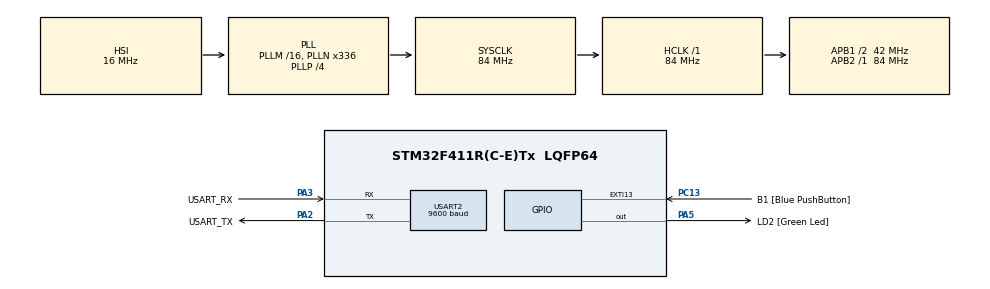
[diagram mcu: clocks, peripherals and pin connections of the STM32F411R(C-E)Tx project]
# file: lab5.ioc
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Mcu.Family=STM32F4
Mcu.Name=STM32F411R(C-E)Tx
Mcu.Package=LQFP64
NVIC.PriorityGroup=NVIC_PRIORITYGROUP_0
NVIC.USART2_IRQn=true\:0\:0\:false\:false\:true\:true\:true\:true
PA13.GPIO_Label=TMS
PA13.Mode=Serial_Wire
PA13.Signal=SYS_JTMS-SWDIO
PA14.GPIO_Label=TCK
PA14.Mode=Serial_Wire
PA14.Signal=SYS_JTCK-SWCLK
PA2.GPIO_Label=USART_TX
PA2.Mode=Asynchronous
PA2.Signal=USART2_TX
PA3.GPIO_Label=USART_RX
PA3.Mode=Asynchronous
PA3.Signal=USART2_RX
PA5.GPIO_Label=LD2 [Green Led]
PA5.Signal=GPIO_Output
PB3.GPIO_Label=SWO
PB3.Signal=SYS_JTDO-SWO
PC13-ANTI_TAMP.GPIO_Label=B1 [Blue PushButton]
PC13-ANTI_TAMP.GPIO_ModeDefaultEXTI=GPIO_MODE_IT_FALLING
PC13-ANTI_TAMP.Signal=GPXTI13
PC14-OSC32_IN.Mode=LSE-External-Oscillator
PC14-OSC32_IN.Signal=RCC_OSC32_IN
PC15-OSC32_OUT.Mode=LSE-External-Oscillator
PC15-OSC32_OUT.Signal=RCC_OSC32_OUT
PH0\ -\ OSC_IN.Mode=HSE-External-Clock-Source
PH0\ -\ OSC_IN.Signal=RCC_OSC_IN
PH1\ -\ OSC_OUT.Mode=HSE-External-Clock-Source
PH1\ -\ OSC_OUT.Signal=RCC_OSC_OUT
ProjectManager.HeapSize=0x200
ProjectManager.StackSize=0x400
ProjectManager.TargetToolchain=STM32CubeIDE
RCC.48MHZClocksFreq_Value=84000000
RCC.AHBFreq_Value=84000000
RCC.APB1CLKDivider=RCC_HCLK_DIV2
RCC.APB1Freq_Value=42000000
RCC.APB1TimFreq_Value=84000000
RCC.APB2Freq_Value=84000000
RCC.APB2TimFreq_Value=84000000
RCC.CortexFreq_Value=84000000
RCC.FLatency-AdvancedSettings=FLASH_LATENCY_2
RCC.HCLKFreq_Value=84000000
RCC.HSE_VALUE=8000000
RCC.HSI_VALUE=16000000
RCC.PLLN=336
RCC.PLLP=RCC_PLLP_DIV4
RCC.SYSCLKFreq_VALUE=84000000
RCC.SYSCLKSource=RCC_SYSCLKSOURCE_PLLCLK
RCC.VCOOutputFreq_Value=336000000
USART2.BaudRate=9600
USART2.Parity=PARITY_NONE
USART2.StopBits=STOPBITS_2
USART2.VirtualMode=VM_ASYNC
USART2.WordLength=WORDLENGTH_8B
board=NUCLEO-F411RE

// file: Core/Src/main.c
/* USER CODE BEGIN Header */
/**
 ******************************************************************************
 * @file           : main.c
 * @brief          : Main program body
 ******************************************************************************
 * @attention
 *
 * Copyright (c) 2023 STMicroelectronics.
 * All rights reserved.
 *
 * This software is licensed under terms that can be found in the LICENSE file
 * in the root directory of this software component.
 * If no LICENSE file comes with this software, it is provided AS-IS.
 *
 ******************************************************************************
 */
/* USER CODE END Header */
#include "main.h"

/* USER CODE BEGIN Includes */
#include "stdio.h"
#include "string.h"
/* USER CODE END Includes */

UART_HandleTypeDef huart2;

/* USER CODE BEGIN PV */
//uint8_t text[50];
uint16_t textcount;
uint8_t RxBuffer[2];
uint8_t TxBuffer[15];
uint8_t State = 2;
uint8_t step = 1;
uint8_t Button[2];
uint16_t Hz = 1;
uint16_t timeHz;
uint8_t LEDOnOff = 1;
uint8_t textbox[20];
/* USER CODE END PV */

void SystemClock_Config(void);
static void MX_GPIO_Init(void);
static void MX_USART2_UART_Init(void);
/* USER CODE BEGIN PFP */
void UIsend(uint8_t text[]);
void Mode();
void UARTInterruptConfig();
void HAL_UART_RxCpltCallback(UART_HandleTypeDef *huart);
void ButtonQC();
void LED(uint8_t LEDonoff);
/* USER CODE END PFP */

int main(void) {

	/* MCU Configuration--------------------------------------------------------*/

	/* Reset of all peripherals, Initializes the Flash interface and the Systick. */
	HAL_Init();

	/* Configure the system clock */
	SystemClock_Config();

	/* Initialize all configured peripherals */
	MX_GPIO_Init();
	MX_USART2_UART_Init();
	/* USER CODE BEGIN 2 */
	UIsend("-------------Welcome USer---------------- \r\n");
//  sprintf((char*)text,"-------------Welcome USer---------------- \r\n");
//  HAL_UART_Transmit(&huart2,text,strlen((char*)text), 50);
//  textcount=strlen((char*)text);

	/* USER CODE END 2 */

	/* Infinite loop */
	/* USER CODE BEGIN WHILE */
	while (1) {
		UARTInterruptConfig();
		if (step) {
			Mode();
		}
		LED(LEDOnOff);
		/* USER CODE END WHILE */

	}
}

void SystemClock_Config(void) {
	RCC_OscInitTypeDef RCC_OscInitStruct = { 0 };
	RCC_ClkInitTypeDef RCC_ClkInitStruct = { 0 };

	/** Configure the main internal regulator output voltage
	 */
	__HAL_RCC_PWR_CLK_ENABLE();
	__HAL_PWR_VOLTAGESCALING_CONFIG(PWR_REGULATOR_VOLTAGE_SCALE1);

	/** Initializes the RCC Oscillators according to the specified parameters
	 * in the RCC_OscInitTypeDef structure.
	 */
	RCC_OscInitStruct.OscillatorType = RCC_OSCILLATORTYPE_HSI;
	RCC_OscInitStruct.HSIState = RCC_HSI_ON;
	RCC_OscInitStruct.HSICalibrationValue = RCC_HSICALIBRATION_DEFAULT;
	RCC_OscInitStruct.PLL.PLLState = RCC_PLL_ON;
	RCC_OscInitStruct.PLL.PLLSource = RCC_PLLSOURCE_HSI;
	RCC_OscInitStruct.PLL.PLLM = 16;
	RCC_OscInitStruct.PLL.PLLN = 336;
	RCC_OscInitStruct.PLL.PLLP = RCC_PLLP_DIV4;
	RCC_OscInitStruct.PLL.PLLQ = 4;
	if (HAL_RCC_OscConfig(&RCC_OscInitStruct) != HAL_OK) {
		Error_Handler();
	}

	/** Initializes the CPU, AHB and APB buses clocks
	 */
	RCC_ClkInitStruct.ClockType = RCC_CLOCKTYPE_HCLK | RCC_CLOCKTYPE_SYSCLK
			| RCC_CLOCKTYPE_PCLK1 | RCC_CLOCKTYPE_PCLK2;
	RCC_ClkInitStruct.SYSCLKSource = RCC_SYSCLKSOURCE_PLLCLK;
	RCC_ClkInitStruct.AHBCLKDivider = RCC_SYSCLK_DIV1;
	RCC_ClkInitStruct.APB1CLKDivider = RCC_HCLK_DIV2;
	RCC_ClkInitStruct.APB2CLKDivider = RCC_HCLK_DIV1;

	if (HAL_RCC_ClockConfig(&RCC_ClkInitStruct, FLASH_LATENCY_2) != HAL_OK) {
		Error_Handler();
	}
}

static void MX_USART2_UART_Init(void) {

	huart2.Instance = USART2;
	huart2.Init.BaudRate = 9600;
	huart2.Init.WordLength = UART_WORDLENGTH_8B;
	huart2.Init.StopBits = UART_STOPBITS_2;
	huart2.Init.Parity = UART_PARITY_NONE;
	huart2.Init.Mode = UART_MODE_TX_RX;
	huart2.Init.HwFlowCtl = UART_HWCONTROL_NONE;
	huart2.Init.OverSampling = UART_OVERSAMPLING_16;
	if (HAL_UART_Init(&huart2) != HAL_OK) {
		Error_Handler();
	}

}

static void MX_GPIO_Init(void) {
	GPIO_InitTypeDef GPIO_InitStruct = { 0 };

	/* GPIO Ports Clock Enable */
	__HAL_RCC_GPIOC_CLK_ENABLE();
	__HAL_RCC_GPIOH_CLK_ENABLE();
	__HAL_RCC_GPIOA_CLK_ENABLE();
	__HAL_RCC_GPIOB_CLK_ENABLE();

	/*Configure GPIO pin Output Level */
	HAL_GPIO_WritePin(LD2_GPIO_Port, LD2_Pin, GPIO_PIN_RESET);

	/*Configure GPIO pin : B1_Pin */
	GPIO_InitStruct.Pin = B1_Pin;
	GPIO_InitStruct.Mode = GPIO_MODE_IT_FALLING;
	GPIO_InitStruct.Pull = GPIO_NOPULL;
	HAL_GPIO_Init(B1_GPIO_Port, &GPIO_InitStruct);

	/*Configure GPIO pin : LD2_Pin */
	GPIO_InitStruct.Pin = LD2_Pin;
	GPIO_InitStruct.Mode = GPIO_MODE_OUTPUT_PP;
	GPIO_InitStruct.Pull = GPIO_NOPULL;
	GPIO_InitStruct.Speed = GPIO_SPEED_FREQ_LOW;
	HAL_GPIO_Init(LD2_GPIO_Port, &GPIO_InitStruct);

}

/* USER CODE BEGIN 4 */
void UIsend(uint8_t text[50]) {
	// sprintf((char*)text,"-------------Welcome USer---------------- \r\n");
	HAL_UART_Transmit(&huart2, text, strlen((char*) text), 50);
	//textcount=strlen((char*)text);
}
void Mode() {
	step = 0;
	switch (State) {
	case 2:
		UIsend("Mode Select\r\n---------\r\n");
		UIsend("0 : LED Control\r\n");
		UIsend("1 : Button Status\r\n-----------\r\n");
		State = 3;
		break;
	case 3:
		if (RxBuffer[0] == 48) {
			State = 0;
			UIsend("LED Control Mode\r\n-------\r\n");
			UIsend("a : Speed Up +1Hz\r\n");
			UIsend("s : Speed Down -1Hz\r\n");
			UIsend("d : On/Off\r\n");
			UIsend("x : back\r\n");
		} else if (RxBuffer[0] == 49) {
			State = 1;
			step = 1;
			UIsend("Button Status Mode\r\n");
		}
		else UIsend("Input ERROR\r\n");
		break;
	case 0:
		if (RxBuffer[0] == 97)
			Hz = Hz + 1;
		else if (RxBuffer[0] == 115 && Hz > 1)
			Hz = Hz - 1;
		else if (RxBuffer[0] == 100) {
			if (LEDOnOff == 0)
				LEDOnOff = 1;
			else
				LEDOnOff = 0;
		} else if (RxBuffer[0] == 120) {
			State = 2;
			step = 1;
		}
		if (LEDOnOff) {
			sprintf((char*) textbox, "Hz : %d\r\n", Hz);
			UIsend(textbox);
		} else
			UIsend("LED OFF\r\n");
		break;
	case 1:
		step = 1;
		if (RxBuffer[0] == 120)
			State = 2;
		ButtonQC();
		break;
	}
	//HAL_GPIO_ReadPin(B1_GPIO_Port, B1_Pin);
	//HAL_GPIO_WritePin(LD2_GPIO_Port, LD2_Pin, HAL_GPIO_TogglePin(B1_GPIO_Port, B1_Pin));
}
void LED(uint8_t LEDonoff) {
	if (LEDonoff) {
		static uint32_t timestamp = 0;
		timeHz = (1000 / Hz) / 2;
		if (HAL_GetTick() >= timestamp) {
			timestamp = HAL_GetTick() + timeHz;
			HAL_GPIO_TogglePin(LD2_GPIO_Port, LD2_Pin);
		}
	} else
		HAL_GPIO_WritePin(LD2_GPIO_Port, LD2_Pin, 0);

}
void UARTInterruptConfig() {
	HAL_UART_Receive_IT(&huart2, RxBuffer, 1);
}
void HAL_UART_RxCpltCallback(UART_HandleTypeDef *huart) {
	if (huart == &huart2) {
		RxBuffer[1] = '\0';
		sprintf((char*) TxBuffer, "Received :  %s\r\n", RxBuffer);
		//HAL_UART_Transmit_IT(&huart2, TxBuffer, strlen((char*) TxBuffer));
		//HAL_UART_Receive_IT(&huart2, RxBuffer, 1);
		step = 1;
	}
}
void ButtonQC() {
	Button[0] = HAL_GPIO_ReadPin(B1_GPIO_Port, B1_Pin);
	if (Button[0] == 1 && Button[1] == 0)
		UIsend("-->  unpress\r\n");
	else if (Button[0] == 0 && Button[1] == 1)
		UIsend("-->  press\r\n");
	Button[1] = Button[0];
}
/* USER CODE END 4 */

void Error_Handler(void) {
	__disable_irq();
	while (1) {
	}
}
